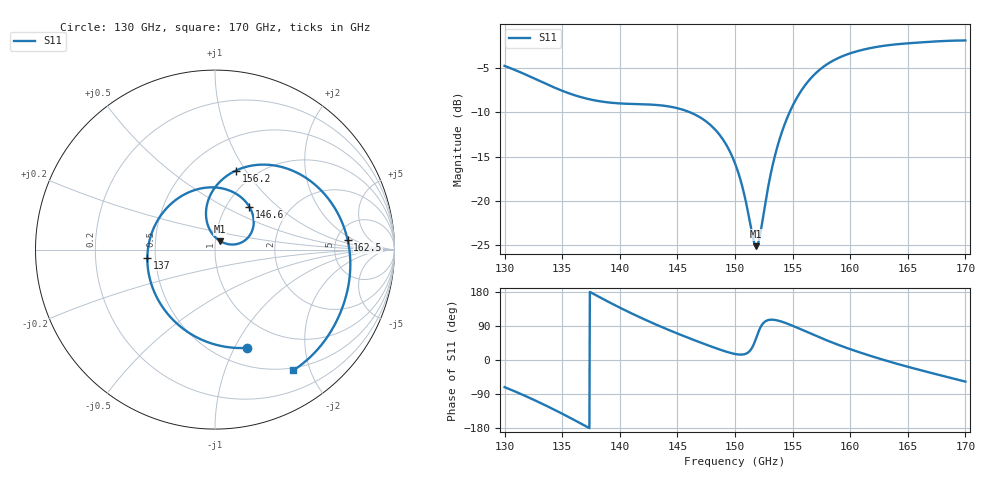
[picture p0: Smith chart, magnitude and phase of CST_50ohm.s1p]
! TOUCHSTONE file generated by CST MICROWAVE STUDIO
! Date and time: Thu Nov 19 19:16:47 2026
! Project name: ShiftBracket85_Production.cst
! Parameters = {array_spacing=1.12; eps_r=3.5; feed_width=0.1913; ground_length=1.5; ground_width=2.5; inset_gap=0.02; inset_length=0.165; junction_y=-0.405; launch_length=0.5; loss_tangent=0.0027; mesh_box=54; mesh_near=36; metal_thickness=0.002; patch_length=0.5102; patch_width=0.667; port_halfwid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
! Header version: 2024
! Port assignment regex: !\s*Touchstone port\s*([0-9]+)\s*=\s*(CST MWS port|CST DES external port|CST DES block port)\s*(.+)\s* \(\"(.*)\"\)(\s*mode\s*([0-9]+))?.*
! Touchstone port assignment:
! Touchstone port 1 = CST MWS port 1 ("50ohm_microstrip")
# GHz S RI R 50
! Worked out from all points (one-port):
!   1001 points, 130 GHz to 170 GHz, reference 50 ohm
!   lowest |S11| = -25.1 dB at 151.8 GHz (marker M1), VSWR 1.12, Z = 52.8 + j5 ohm
!   |S11| at or under -10 dB: 146.1 GHz to 154.7 GHz (8.666 GHz wide, 5.76 % of centre)
!   S11 on the Smith chart (normalised r, x): 130 GHz: 0.69, -1.13; 137 GHz: 0.45, -0.05; 146.6 GHz: 1.28, +0.67; 156.2 GHz: 0.81, +0.90; 162.5 GHz: 6.36, +1.50; 170 GHz: 0.46, -1.75
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130  0.1811 -0.5475
132.28  -0.0998 -0.4898
133.68  -0.2383 -0.3867
135  -0.3279 -0.2586
136.96  -0.3769 -0.0448
138.4  -0.348 0.1044
140  -0.264 0.2364
142.48  -0.0756 0.3413
145  0.1144 0.3129
146.56  0.1915 0.2386
148.56  0.2107 0.1158
150  0.1567 0.0446
150.72  0.1108 0.029
151.6  0.0466 0.0385
151.84  0.0294 0.0472
152.16  0.00758 0.0632
152.92  -0.0334 0.1195
153.52  -0.0491 0.1788
154.2  -0.0436 0.2548
155  -0.0022 0.3434
156.16  0.1163 0.4402
157.04  0.234 0.4719
157.92  0.3565 0.464
160  0.5959 0.3249
162.48  0.7391 0.0533
165  0.7356 -0.2375
167.36  0.6348 -0.4731
170  0.4369 -0.6728
